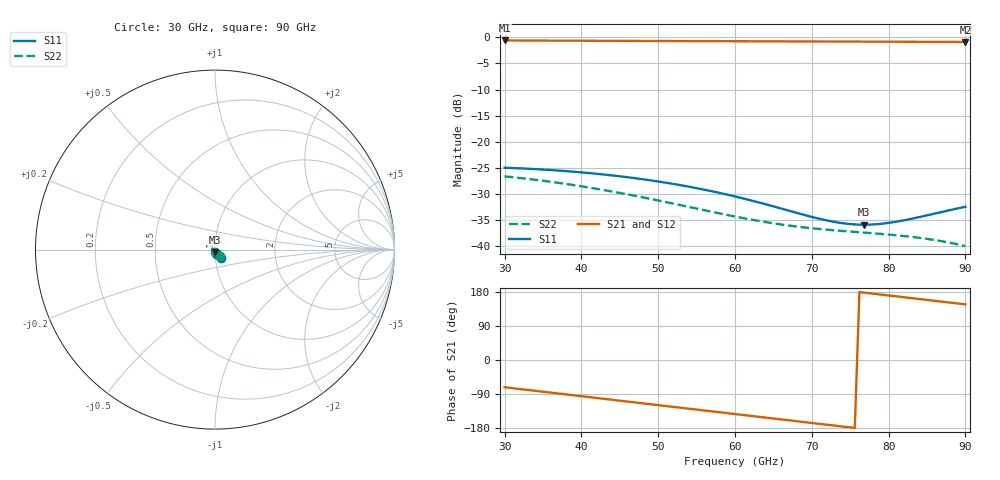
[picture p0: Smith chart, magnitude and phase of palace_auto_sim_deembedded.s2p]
! Created with skrf 1.11.0 (http://scikit-rf.org).
# GHz S DB R 50.0
!freq dBS11 angS11 dBS21 angS21 dBS12 angS12 dBS22 angS22
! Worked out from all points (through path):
!   101 points, 30 GHz to 90 GHz, reference 50 ohm
!   highest |S21| = -0.59 dB at 30 GHz (marker M1); lowest = -0.9 dB at 90 GHz (marker M2)
!   group delay of S21, straight-line fit = 6.54 ps
!   lowest |S11| = -35.9 dB at 76.8 GHz (marker M3), VSWR 1.03, Z = 50.1 - j1.6 ohm
!   |S11| at or under -10 dB: start of sweep to end of sweep
!   |S22| runs from -40.1 to -26.7 dB; largest |S21 - S12| = 1.1e-14
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30  -25.01 -55.2  -0.59 -71.9  -0.59 -71.9  -26.67 -52.0
33  -25.19 -62.1  -0.61 -79.0  -0.61 -79.0  -27.14 -58.2
35.4  -25.39 -67.4  -0.62 -84.7  -0.62 -84.7  -27.58 -63.0
37.8  -25.63 -72.6  -0.63 -90.3  -0.63 -90.3  -28.07 -67.6
40.2  -25.92 -77.7  -0.64 -96.0  -0.64 -96.0  -28.61 -71.9
42.6  -26.26 -82.5  -0.65 -101.6  -0.65 -101.6  -29.20 -75.9
45  -26.65 -87.2  -0.67 -107.3  -0.67 -107.3  -29.84 -79.6
47.4  -27.10 -91.7  -0.68 -113.0  -0.68 -113.0  -30.52 -82.9
50.4  -27.74 -96.8  -0.69 -120.0  -0.69 -120.0  -31.41 -86.5
55.2  -28.98 -103.9  -0.71 -131.3  -0.71 -131.3  -32.90 -90.5
60  -30.51 -108.8  -0.74 -142.6  -0.74 -142.6  -34.37 -92.2
63  -31.62 -110.2  -0.75 -149.7  -0.75 -149.7  -35.19 -92.3
65.4  -32.58 -110.0  -0.76 -155.3  -0.76 -155.3  -35.76 -92.0
67.8  -33.56 -108.4  -0.77 -161.0  -0.77 -161.0  -36.24 -91.5
70.2  -34.51 -104.9  -0.78 -166.6  -0.78 -166.6  -36.64 -91.1
73.8  -35.60 -96.0  -0.80 -175.1  -0.80 -175.1  -37.11 -91.1
76.8  -35.93 -86.4  -0.81 177.9  -0.81 177.9  -37.44 -92.0
78.6  -35.82 -80.5  -0.82 173.6  -0.82 173.6  -37.65 -93.0
80.4  -35.50 -75.3  -0.83 169.4  -0.83 169.4  -37.88 -94.4
85.2  -34.07 -65.9  -0.85 158.1  -0.85 158.1  -38.70 -99.5
87.6  -33.27 -63.7  -0.86 152.5  -0.86 152.5  -39.29 -102.8
90  -32.50 -62.7  -0.87 146.8  -0.87 146.8  -40.05 -106.5
